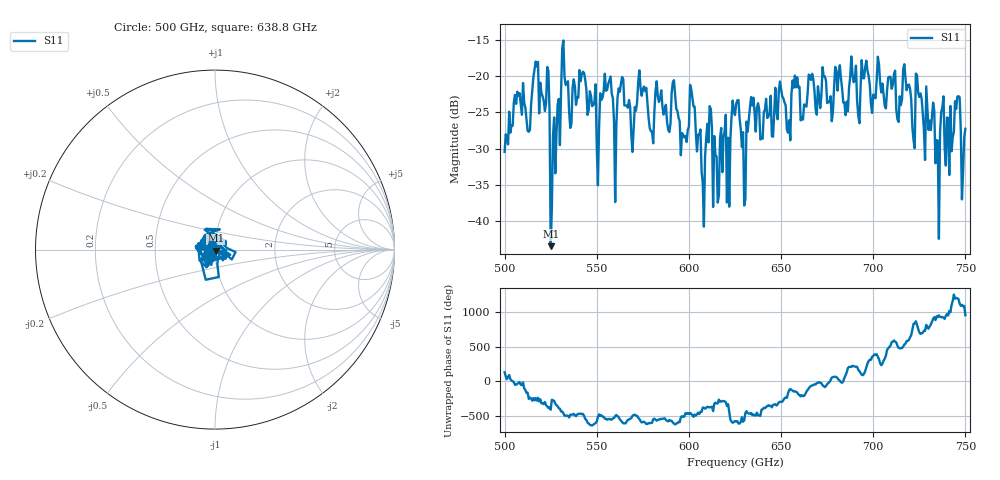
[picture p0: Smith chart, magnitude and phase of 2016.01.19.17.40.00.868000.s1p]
!Created with skrf (http://scikit-rf.org).
# GHz S RI R 50.0
!freq ReS11 ImS11
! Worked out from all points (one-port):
!   401 points, 500 GHz to 750 GHz, reference 50 ohm
!   lowest |S11| = -43.4 dB at 525 GHz (marker M1), VSWR 1.01, Z = 50.4 - j0.564 ohm
!   |S11| at or under -10 dB: start of sweep to end of sweep
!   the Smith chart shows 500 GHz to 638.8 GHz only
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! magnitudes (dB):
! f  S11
! 500 GHz  -30.5
! 506.9 GHz  -22.2
! 513.1 GHz  -27.7
! 516.9 GHz  -18.0
! 523.1 GHz  -18.8
! 525 GHz  -43.4
! 526.2 GHz  -28.3
! 531.2 GHz  -16.2
! 551.2 GHz  -27.1
! 562.5 GHz  -22.2
! 570 GHz  -27.3
! 573.8 GHz  -21.6
! 593.8 GHz  -24.8
! 596.9 GHz  -28.1
! 601.9 GHz  -23.0
! 608.1 GHz  -40.8
! 611.2 GHz  -24.2
! 614.4 GHz  -30.9
! 621.9 GHz  -38.0
! 625 GHz  -25.4
! 629.4 GHz  -27.7
! 633.8 GHz  -22.9
! 656.2 GHz  -20.6
! 687.5 GHz  -20.2
! 718.8 GHz  -21.3
! 735 GHz  -28.9
! 745.6 GHz  -22.8
! 750 GHz  -27.3
